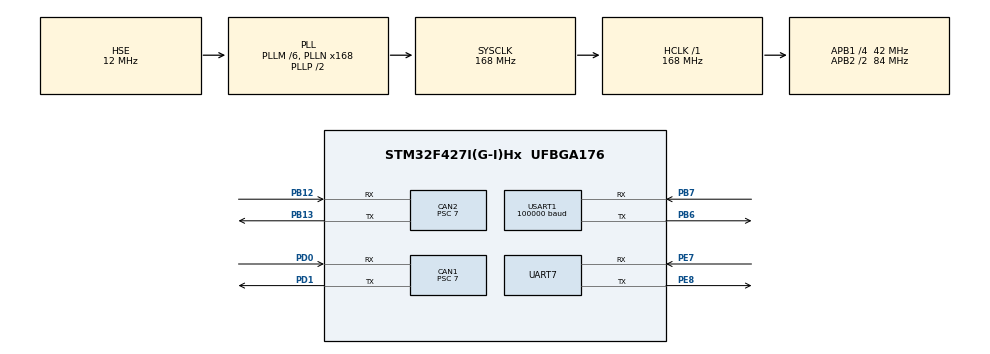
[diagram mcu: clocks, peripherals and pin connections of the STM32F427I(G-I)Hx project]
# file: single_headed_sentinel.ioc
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CAN1.ABOM=ENABLE
CAN1.AWUM=ENABLE
CAN1.BS1=CAN_BS1_3TQ
CAN1.BS2=CAN_BS2_2TQ
CAN1.CalculateBaudRate=999999
CAN1.CalculateTimeBit=1000
CAN1.CalculateTimeQuantum=166.66666666666669
CAN1.NART=ENABLE
CAN1.Prescaler=7
CAN2.ABOM=ENABLE
CAN2.AWUM=ENABLE
CAN2.BS1=CAN_BS1_3TQ
CAN2.BS2=CAN_BS2_2TQ
CAN2.CalculateBaudRate=999999
CAN2.CalculateTimeBit=1000
CAN2.CalculateTimeQuantum=166.66666666666669
CAN2.NART=ENABLE
CAN2.Prescaler=7
CAN2.SJW=CAN_SJW_1TQ
Dma.Request0=USART1_RX
Dma.USART1_RX.0.Direction=DMA_PERIPH_TO_MEMORY
Dma.USART1_RX.0.FIFOMode=DMA_FIFOMODE_DISABLE
Dma.USART1_RX.0.Instance=DMA2_Stream2
Dma.USART1_RX.0.MemDataAlignment=DMA_MDATAALIGN_BYTE
Dma.USART1_RX.0.MemInc=DMA_MINC_ENABLE
Dma.USART1_RX.0.Mode=DMA_CIRCULAR
Dma.USART1_RX.0.PeriphDataAlignment=DMA_PDATAALIGN_BYTE
Dma.USART1_RX.0.PeriphInc=DMA_PINC_DISABLE
Dma.USART1_RX.0.Priority=DMA_PRIORITY_VERY_HIGH
FREERTOS.INCLUDE_eTaskGetState=1
FREERTOS.INCLUDE_pcTaskGetTaskName=1
FREERTOS.INCLUDE_uxTaskGetStackHighWaterMark=1
FREERTOS.INCLUDE_vTaskCleanUpResources=1
FREERTOS.INCLUDE_vTaskDelayUntil=1
FREERTOS.INCLUDE_xEventGroupSetBitFromISR=1
FREERTOS.INCLUDE_xQueueGetMutexHolder=1
FREERTOS.INCLUDE_xSemaphoreGetMutexHolder=1
FREERTOS.INCLUDE_xTaskAbortDelay=1
FREERTOS.INCLUDE_xTaskGetCurrentTaskHandle=1
FREERTOS.INCLUDE_xTaskGetHandle=1
FREERTOS.INCLUDE_xTimerPendFunctionCall=1
FREERTOS.Tasks01=All_Init,0,128,All_Init_Run,Default,NULL,Dynamic,NULL,NULL
FREERTOS.configTOTAL_HEAP_SIZE=24576
FREERTOS.configUSE_TIMERS=1
Mcu.Family=STM32F4
Mcu.Name=STM32F427I(G-I)Hx
Mcu.Package=UFBGA176
NVIC.CAN1_RX0_IRQn=true\:5\:0\:true\:false\:true\:true\:true\:true\:true
NVIC.CAN2_RX0_IRQn=true\:5\:0\:true\:false\:true\:true\:true\:true\:true
NVIC.DMA2_Stream2_IRQn=true\:5\:0\:false\:false\:true\:true\:false\:true\:true
NVIC.PriorityGroup=NVIC_PRIORITYGROUP_4
NVIC.TIM6_DAC_IRQn=true\:15\:0\:false\:false\:true\:false\:false\:true\:true
NVIC.TimeBase=TIM6_DAC_IRQn
NVIC.TimeBaseIP=TIM6
NVIC.USART1_IRQn=true\:5\:0\:true\:false\:true\:true\:true\:true\:true
PA13.Mode=Serial_Wire
PA13.Signal=SYS_JTMS-SWDIO
PA14.Mode=Serial_Wire
PA14.Signal=SYS_JTCK-SWCLK
PB12.Mode=CAN_Activate
PB12.Signal=CAN2_RX
PB13.Mode=CAN_Activate
PB13.Signal=CAN2_TX
PB6.Mode=Asynchronous
PB6.Signal=USART1_TX
PB7.Mode=Asynchronous
PB7.Signal=USART1_RX
PD0.Mode=CAN_Activate
PD0.Signal=CAN1_RX
PD1.Mode=CAN_Activate
PD1.Signal=CAN1_TX
PE7.Mode=Asynchronous
PE7.Signal=UART7_RX
PE8.Mode=Asynchronous
PE8.Signal=UART7_TX
PH0/OSC_IN.Mode=HSE-External-Oscillator
PH0/OSC_IN.Signal=RCC_OSC_IN
PH1/OSC_OUT.Mode=HSE-External-Oscillator
PH1/OSC_OUT.Signal=RCC_OSC_OUT
ProjectManager.HeapSize=0x2000
ProjectManager.StackSize=0x2000
ProjectManager.TargetToolchain=MDK-ARM V5.32
RCC.48MHZClocksFreq_Value=84000000
RCC.AHBFreq_Value=168000000
RCC.APB1CLKDivider=RCC_HCLK_DIV4
RCC.APB1Freq_Value=42000000
RCC.APB1TimFreq_Value=84000000
RCC.APB2CLKDivider=RCC_HCLK_DIV2
RCC.APB2Freq_Value=84000000
RCC.APB2TimFreq_Value=168000000
RCC.CortexFreq_Value=168000000
RCC.HCLKFreq_Value=168000000
RCC.HSE_VALUE=12000000
RCC.HSI_VALUE=16000000
RCC.LSE_VALUE=32768
RCC.PLLM=6
RCC.PLLN=168
RCC.PLLSourceVirtual=RCC_PLLSOURCE_HSE
RCC.SYSCLKFreq_VALUE=168000000
RCC.SYSCLKSource=RCC_SYSCLKSOURCE_PLLCLK
RCC.VCOOutputFreq_Value=336000000
UART7.VirtualMode=Asynchronous
USART1.BaudRate=100000
USART1.Parity=PARITY_EVEN
USART1.VirtualMode=VM_ASYNC
USART1.WordLength=WORDLENGTH_9B
VP_FREERTOS_VS_CMSIS_V1.Mode=CMSIS_V1
VP_SYS_VS_tim6.Mode=TIM6
board=custom

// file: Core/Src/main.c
/* USER CODE BEGIN Header */
/**
  ******************************************************************************
  * @file           : main.c
  * @brief          : Main program body
  ******************************************************************************
  * @attention
  *
  * Copyright (c) 2024 STMicroelectronics.
  * All rights reserved.
  *
  * This software is licensed under terms that can be found in the LICENSE file
  * in the root directory of this software component.
  * If no LICENSE file comes with this software, it is provided AS-IS.
  *
  ******************************************************************************
  */
/* USER CODE END Header */
#include "main.h"
#include "cmsis_os.h"
#include "can.h"
#include "dma.h"
#include "usart.h"
#include "gpio.h"

void SystemClock_Config(void);
void MX_FREERTOS_Init(void);

int main(void)
{

  /* MCU Configuration--------------------------------------------------------*/

  /* Reset of all peripherals, Initializes the Flash interface and the Systick. */
  HAL_Init();

  /* Configure the system clock */
  SystemClock_Config();

  /* Initialize all configured peripherals */
  MX_GPIO_Init();
  MX_DMA_Init();
  MX_CAN1_Init();
  MX_CAN2_Init();
  MX_USART1_UART_Init();
  MX_UART7_Init();

  /* Call init function for freertos objects (in freertos.c) */
  MX_FREERTOS_Init();

  /* Start scheduler */
  osKernelStart();
  /* We should never get here as control is now taken by the scheduler */
  /* Infinite loop */
  while (1)
  {

  }
}

void SystemClock_Config(void)
{
  RCC_OscInitTypeDef RCC_OscInitStruct = {0};
  RCC_ClkInitTypeDef RCC_ClkInitStruct = {0};

  /** Configure the main internal regulator output voltage
  */
  __HAL_RCC_PWR_CLK_ENABLE();
  __HAL_PWR_VOLTAGESCALING_CONFIG(PWR_REGULATOR_VOLTAGE_SCALE1);

  /** Initializes the RCC Oscillators according to the specified parameters
  * in the RCC_OscInitTypeDef structure.
  */
  RCC_OscInitStruct.OscillatorType = RCC_OSCILLATORTYPE_HSE;
  RCC_OscInitStruct.HSEState = RCC_HSE_ON;
  RCC_OscInitStruct.PLL.PLLState = RCC_PLL_ON;
  RCC_OscInitStruct.PLL.PLLSource = RCC_PLLSOURCE_HSE;
  RCC_OscInitStruct.PLL.PLLM = 6;
  RCC_OscInitStruct.PLL.PLLN = 168;
  RCC_OscInitStruct.PLL.PLLP = RCC_PLLP_DIV2;
  RCC_OscInitStruct.PLL.PLLQ = 4;
  if (HAL_RCC_OscConfig(&RCC_OscInitStruct) != HAL_OK)
  {
    Error_Handler();
  }

  /** Initializes the CPU, AHB and APB buses clocks
  */
  RCC_ClkInitStruct.ClockType = RCC_CLOCKTYPE_HCLK|RCC_CLOCKTYPE_SYSCLK
                              |RCC_CLOCKTYPE_PCLK1|RCC_CLOCKTYPE_PCLK2;
  RCC_ClkInitStruct.SYSCLKSource = RCC_SYSCLKSOURCE_PLLCLK;
  RCC_ClkInitStruct.AHBCLKDivider = RCC_SYSCLK_DIV1;
  RCC_ClkInitStruct.APB1CLKDivider = RCC_HCLK_DIV4;
  RCC_ClkInitStruct.APB2CLKDivider = RCC_HCLK_DIV2;

  if (HAL_RCC_ClockConfig(&RCC_ClkInitStruct, FLASH_LATENCY_5) != HAL_OK)
  {
    Error_Handler();
  }
}

void HAL_TIM_PeriodElapsedCallback(TIM_HandleTypeDef *htim)
{
  if (htim->Instance == TIM6) {
    HAL_IncTick();
  }
}

void Error_Handler(void)
{
  __disable_irq();
  while (1)
  {
  }
}

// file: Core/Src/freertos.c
/* USER CODE BEGIN Header */
/**
  ******************************************************************************
  * File Name          : freertos.c
  * Description        : Code for freertos applications
  ******************************************************************************
  * @attention
  *
  * Copyright (c) 2024 STMicroelectronics.
  * All rights reserved.
  *
  * This software is licensed under terms that can be found in the LICENSE file
  * in the root directory of this software component.
  * If no LICENSE file comes with this software, it is provided AS-IS.
  *
  ******************************************************************************
  */
/* USER CODE END Header */

#include "FreeRTOS.h"
#include "task.h"
#include "main.h"
#include "cmsis_os.h"

/* USER CODE BEGIN Includes */
#include "pid.h"
#include "dr16.h"
#include "M6020_motor.h"
#include "bsp_can.h"
#include "Robot_control_task.h"
#include "Task_CanMsg.h"
#include "Task_Check.h"
/* USER CODE END Includes */

/* USER CODE BEGIN PTD */
osThreadId RobotCtrl_Handle;
osThreadId CAN_Send_Handle;
/* USER CODE END PTD */

/* USER CODE BEGIN Variables */
osMessageQId CAN1_ReceiveHandle;
osMessageQId CAN2_ReceiveHandle;

osThreadId CAN1_TaskHandle;
osThreadId CAN2_TaskHandle;

osThreadId Check_Handle;
/* USER CODE END Variables */
osThreadId All_InitHandle;

/* USER CODE BEGIN FunctionPrototypes */
extern void CAN1_REC(void const * argument);
extern void CAN2_REC(void const * argument);
extern void Robot_Control(void const *argument);
extern void CAN_Send(void const *argument);
extern void DEV_Check(void const *argument);
/* USER CODE END FunctionPrototypes */

void All_Init_Run(void const * argument);

void MX_FREERTOS_Init(void); /* (MISRA C 2004 rule 8.1) */

/* GetIdleTaskMemory prototype (linked to static allocation support) */
void vApplicationGetIdleTaskMemory( StaticTask_t **ppxIdleTaskTCBBuffer, StackType_t **ppxIdleTaskStackBuffer, uint32_t *pulIdleTaskStackSize );

/* GetTimerTaskMemory prototype (linked to static allocation support) */
void vApplicationGetTimerTaskMemory( StaticTask_t **ppxTimerTaskTCBBuffer, StackType_t **ppxTimerTaskStackBuffer, uint32_t *pulTimerTaskStackSize );

/* USER CODE BEGIN GET_IDLE_TASK_MEMORY */
static StaticTask_t xIdleTaskTCBBuffer;
static StackType_t xIdleStack[configMINIMAL_STACK_SIZE];

void vApplicationGetIdleTaskMemory( StaticTask_t **ppxIdleTaskTCBBuffer, StackType_t **ppxIdleTaskStackBuffer, uint32_t *pulIdleTaskStackSize )
{
  *ppxIdleTaskTCBBuffer = &xIdleTaskTCBBuffer;
  *ppxIdleTaskStackBuffer = &xIdleStack[0];
  *pulIdleTaskStackSize = configMINIMAL_STACK_SIZE;
  /* place for user code */
}
/* USER CODE END GET_IDLE_TASK_MEMORY */

/* USER CODE BEGIN GET_TIMER_TASK_MEMORY */
static StaticTask_t xTimerTaskTCBBuffer;
static StackType_t xTimerStack[configTIMER_TASK_STACK_DEPTH];

void vApplicationGetTimerTaskMemory( StaticTask_t **ppxTimerTaskTCBBuffer, StackType_t **ppxTimerTaskStackBuffer, uint32_t *pulTimerTaskStackSize )
{
  *ppxTimerTaskTCBBuffer = &xTimerTaskTCBBuffer;
  *ppxTimerTaskStackBuffer = &xTimerStack[0];
  *pulTimerTaskStackSize = configTIMER_TASK_STACK_DEPTH;
  /* place for user code */
}
/* USER CODE END GET_TIMER_TASK_MEMORY */

void MX_FREERTOS_Init(void) {

  /* USER CODE BEGIN RTOS_QUEUES */
  /* add queues, ... */

	osMessageQDef(CAN1_Receive, 64, Can_Export_Data_t);
  CAN1_ReceiveHandle = osMessageCreate(osMessageQ(CAN1_Receive), NULL);

	osMessageQDef(CAN2_Receive, 64, Can_Export_Data_t);
  CAN2_ReceiveHandle = osMessageCreate(osMessageQ(CAN2_Receive), NULL);
  /* USER CODE END RTOS_QUEUES */

  /* Create the thread(s) */
  /* definition and creation of All_Init */
  osThreadDef(All_Init, All_Init_Run, osPriorityNormal, 0, 128);
  All_InitHandle = osThreadCreate(osThread(All_Init), NULL);

  /* USER CODE BEGIN RTOS_THREADS */
  /* add threads, ... */
	osThreadDef(CAN_Send_Task,CAN_Send,osPriorityHigh,0,128);
	CAN_Send_Handle = osThreadCreate(osThread(CAN_Send_Task),NULL);

	osThreadDef(CAN1_Task, CAN1_REC, osPriorityHigh, 0, 256);
  CAN1_TaskHandle = osThreadCreate(osThread(CAN1_Task), NULL);

	osThreadDef(CAN2_Task, CAN2_REC, osPriorityHigh, 0, 256);
  CAN2_TaskHandle = osThreadCreate(osThread(CAN2_Task), NULL);

	osThreadDef(Check_Task, DEV_Check, osPriorityNormal, 0, 256);
  Check_Handle = osThreadCreate(osThread(Check_Task), NULL);

	osThreadDef(Task_Robot_Control, Robot_Control, osPriorityRealtime, 0, 512);
	RobotCtrl_Handle = osThreadCreate(osThread(Task_Robot_Control), NULL);
  /* USER CODE END RTOS_THREADS */

}

void All_Init_Run(void const * argument)
{
  /* USER CODE BEGIN All_Init_Run */

	taskENTER_CRITICAL();  //进入临界区
	CAN_1_Filter_Config();
	CAN_2_Filter_Config();
	__HAL_CAN_ENABLE_IT(&hcan1, CAN_IT_RX_FIFO0_MSG_PENDING); //  CAN_IT_FMP0
	__HAL_CAN_ENABLE_IT(&hcan2, CAN_IT_RX_FIFO0_MSG_PENDING); //  CAN_IT_FMP0
	dbus_uart_init();   //dbus初始化
	motor_pid_init();   //电机pid初始化
//	HAL_UARTEx_ReceiveToIdle_DMA(&huart1, dbus_buf, DBUS_BUFLEN*2);

	taskEXIT_CRITICAL();   //退出临界区
	vTaskDelete(NULL);

  /* USER CODE END All_Init_Run */
}
